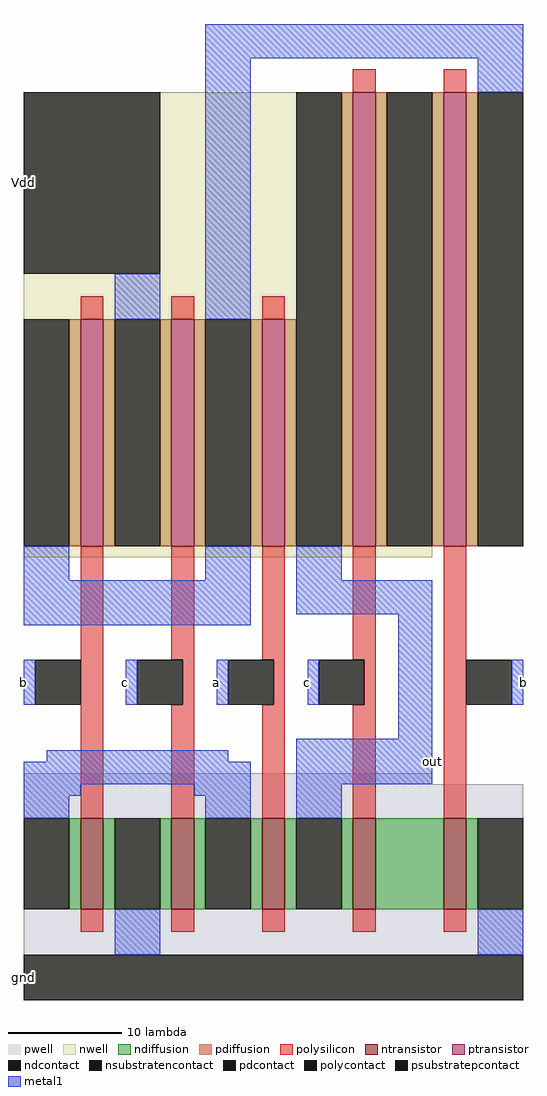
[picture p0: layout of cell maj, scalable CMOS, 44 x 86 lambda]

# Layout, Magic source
magic
tech scmos
<< pwell >>
rect -11 -3 25 -2
rect -11 -22 33 -3
<< nwell >>
rect -11 18 33 58
rect -11 17 25 18
<< polysilicon >>
rect 18 58 20 60
rect 26 58 28 60
rect -6 38 -4 40
rect 2 38 4 40
rect 10 38 12 40
rect -6 -6 -4 18
rect 2 8 4 18
rect 10 8 12 18
rect 18 8 20 18
rect 3 4 4 8
rect 11 4 12 8
rect 19 4 20 8
rect 2 -6 4 4
rect 10 -6 12 4
rect 18 -6 20 4
rect 26 -6 28 18
rect -6 -16 -4 -14
rect 2 -16 4 -14
rect 10 -16 12 -14
rect 18 -16 20 -14
rect 26 -16 28 -14
<< ndiffusion >>
rect -7 -14 -6 -6
rect -4 -14 -3 -6
rect 1 -14 2 -6
rect 4 -14 5 -6
rect 9 -14 10 -6
rect 12 -14 13 -6
rect 17 -14 18 -6
rect 20 -14 26 -6
rect 28 -14 29 -6
<< pdiffusion >>
rect -7 18 -6 38
rect -4 18 -3 38
rect 1 18 2 38
rect 4 18 5 38
rect 9 18 10 38
rect 12 18 13 38
rect 17 18 18 58
rect 20 18 21 58
rect 25 18 26 58
rect 28 18 29 58
<< metal1 >>
rect 5 61 33 64
rect -3 38 1 42
rect 5 38 9 61
rect 29 58 33 61
rect -11 15 -7 18
rect 5 15 9 18
rect -11 11 9 15
rect 13 15 17 18
rect 13 12 25 15
rect -11 4 -10 8
rect -2 4 -1 8
rect 6 4 7 8
rect 14 4 15 8
rect 22 1 25 12
rect 32 4 33 8
rect -9 -1 7 0
rect -11 -3 9 -1
rect -11 -4 -6 -3
rect 4 -4 9 -3
rect -11 -6 -7 -4
rect 5 -6 9 -4
rect 13 -3 25 1
rect 13 -6 17 -3
rect -3 -18 1 -14
rect 29 -18 33 -14
<< ntransistor >>
rect -6 -14 -4 -6
rect 2 -14 4 -6
rect 10 -14 12 -6
rect 18 -14 20 -6
rect 26 -14 28 -6
<< ptransistor >>
rect -6 18 -4 38
rect 2 18 4 38
rect 10 18 12 38
rect 18 18 20 58
rect 26 18 28 58
<< polycontact >>
rect -10 4 -6 8
rect -1 4 3 8
rect 7 4 11 8
rect 15 4 19 8
rect 28 4 32 8
<< ndcontact >>
rect -11 -14 -7 -6
rect -3 -14 1 -6
rect 5 -14 9 -6
rect 13 -14 17 -6
rect 29 -14 33 -6
<< pdcontact >>
rect -11 18 -7 38
rect -3 18 1 38
rect 5 18 9 38
rect 13 18 17 58
rect 21 18 25 58
rect 29 18 33 58
<< psubstratepcontact >>
rect -11 -22 33 -18
<< nsubstratencontact >>
rect -11 42 1 58
<< labels >>
rlabel psubstratepcontact -11 -22 -11 -18 2 gnd
rlabel metal1 33 4 33 8 7 b
rlabel metal1 14 4 14 8 1 c
rlabel metal1 6 4 6 8 1 a
rlabel metal1 -2 4 -2 8 1 c
rlabel metal1 -11 4 -11 8 3 b
rlabel nsubstratencontact -11 42 -11 58 3 Vdd
rlabel metal1 25 -3 25 1 1 out
<< end >>
